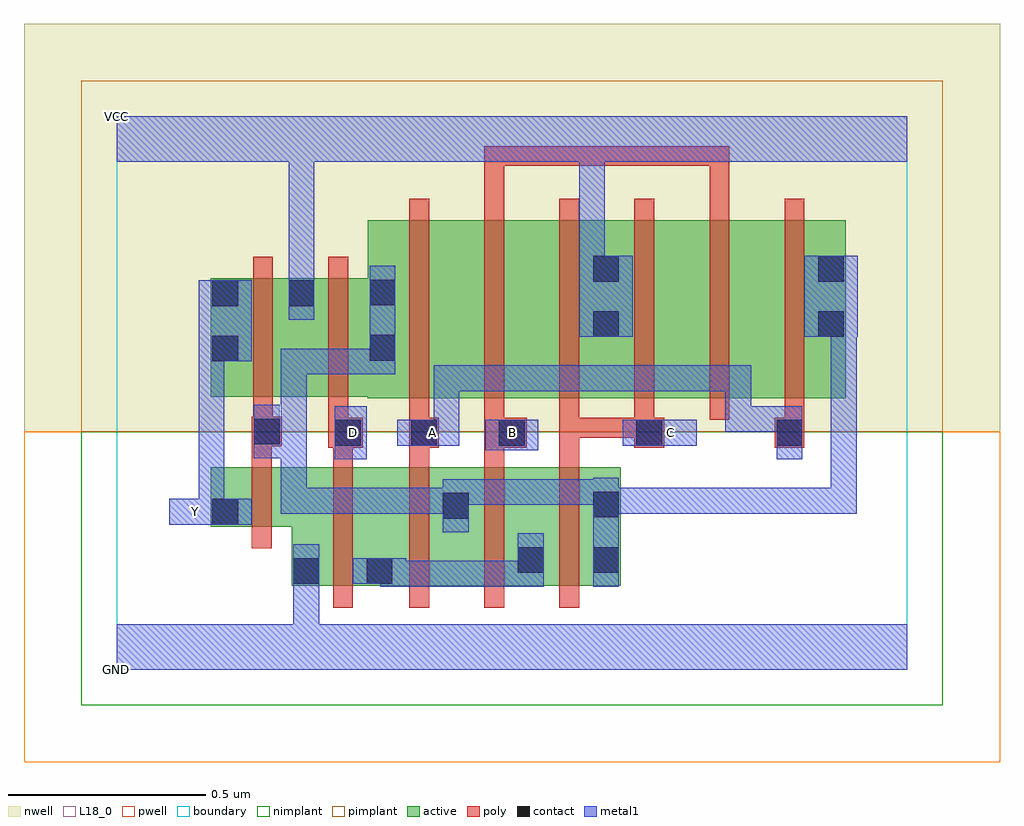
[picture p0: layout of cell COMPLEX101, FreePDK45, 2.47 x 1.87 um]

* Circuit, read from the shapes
.subckt COMPLEX101 A B C D GND VCC Y
M1 GND n1 Y VSUBS nfet w=0.15u l=0.05u
M2 n2 D GND VSUBS nfet w=0.3u l=0.05u
M3 n1 A n2 VSUBS nfet w=0.3u l=0.05u
M4 n2 B n1 VSUBS nfet w=0.3u l=0.05u
M5 n1 C n2 VSUBS nfet w=0.3u l=0.05u
M6 VCC n1 Y n3 pfet w=0.3u l=0.05u
M7 n1 D VCC n3 pfet w=0.3u l=0.05u
M8 n4 A n1 n3 pfet w=0.45u l=0.05u
M9 n5 B n4 n3 pfet w=0.45u l=0.05u
M10 VCC C n5 n3 pfet w=0.45u l=0.05u
M11 n6 C VCC n3 pfet w=0.45u l=0.05u
M12 n7 B n6 n3 pfet w=0.45u l=0.05u
M13 n1 A n7 n3 pfet w=0.45u l=0.05u
.ends

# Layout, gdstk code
import gdstk
lib = gdstk.Library(unit=1e-6, precision=1e-09)
def R(c, l, rs):  # rectangles x0, y0, x1, y1
    for r in rs: c.add(gdstk.rectangle(r[:2], r[2:], *l))
def A(c, l, x, y, w, h, nx, ny, dx, dy):  # array of equal rectangles
    R(c, l, [(x+i*dx, y+j*dy, x+i*dx+w, y+j*dy+h) for i in range(nx) for j in range(ny)])
active = (1, 0)
pwell = (2, 0)
nwell = (3, 0)
nimplant = (4, 0)
pimplant = (5, 0)
poly = (9, 0)
contact = (10, 0)
metal1 = (11, 0)
L18_0 = (18, 0)
boundary = (235, 0)

complex101 = lib.new_cell('COMPLEX101')
R(complex101, active, [(0.442,0.212,0.702,0.512), (0.442,0.212,0.517,0.362), (0.627,0.212,0.895,0.512), (0.627,0.212,0.702,0.392), (0.82,0.212,1.085,0.512), (1.01,0.212,1.275,0.512), (1.01,0.24,1.085,0.392), (1.2,0.24,1.275,0.512), (0.82,0.247,0.895,0.452), (0.237,0.362,0.312,0.512), (0.237,0.362,0.517,0.512), (0.635,0.687,0.86,1.137), (0.86,0.687,1.05,1.137), (1.05,0.687,1.275,1.137), (1.2,0.687,1.43,1.137), (1.43,0.687,1.62,1.137), (1.62,0.687,1.845,1.137), (1.77,0.687,1.845,1.137), (0.237,0.69,0.505,0.99), (0.237,0.69,0.312,0.99), (0.43,0.69,0.71,0.99), (0.635,0.69,0.71,0.992), (1.2,0.732,1.275,1.107), (0.43,0.822,0.505,0.99)])
R(complex101, pwell, [(-0.235,-0.235,2.235,0.602)])
R(complex101, nwell, [(-0.235,0.602,2.235,1.635)])
R(complex101, nimplant, [(-0.09,-0.09,2.09,0.602)])
R(complex101, pimplant, [(-0.09,0.602,2.09,1.49)])
A(complex101, poly, 0.74, 0.157, 0.05, 0.41, 3, 1, 0.19, 0)
A(complex101, poly, 0.74, 0.587, 0.05, 0.095, 4, 1, 0.19, 0)
A(complex101, poly, 0.74, 0.632, 0.05, 0.56, 6, 1, 0.19, 0)
R(complex101, poly, [(0.547,0.157,0.597,0.567), (0.342,0.307,0.392,0.567), (0.342,0.517,0.392,0.615), (0.547,0.517,0.597,0.612), (0.74,0.517,0.79,0.612), (0.93,0.517,0.98,0.612), (1.12,0.517,1.17,0.637), (0.535,0.562,0.622,0.637), (0.74,0.562,0.815,0.637), (0.93,0.562,1.037,0.637), (1.31,0.562,1.385,0.637), (1.665,0.562,1.74,0.637), (0.342,0.565,0.417,0.64), (0.535,0.587,0.585,0.685), (1.12,0.587,1.17,0.637), (1.12,0.587,1.17,0.637), (1.12,0.587,1.17,0.637), (1.12,0.587,1.36,0.637), (1.69,0.587,1.74,0.682), (0.345,0.59,0.395,0.685), (0.345,0.635,0.395,1.045), (0.535,0.635,0.585,1.045), (0.93,1.142,0.98,1.325), (1.5,1.142,1.55,1.325), (0.93,1.275,0.98,1.325), (0.93,1.275,0.98,1.325), (0.93,1.275,0.98,1.325), (0.93,1.275,1.17,1.325), (1.12,1.275,1.17,1.325), (1.12,1.275,1.17,1.325), (1.12,1.275,1.17,1.325), (1.12,1.275,1.417,1.325), (1.367,1.275,1.55,1.325), (1.367,1.275,1.417,1.325), (1.367,1.275,1.417,1.325), (1.367,1.275,1.417,1.325), (1.5,1.275,1.55,1.325)])
R(complex101, contact, [(0.447,0.217,0.512,0.282), (0.632,0.217,0.697,0.282), (1.015,0.245,1.08,0.31), (1.205,0.245,1.27,0.31), (0.242,0.367,0.307,0.432), (0.825,0.382,0.89,0.447), (1.205,0.385,1.27,0.45), (0.552,0.567,0.617,0.632), (0.745,0.567,0.81,0.632), (0.967,0.567,1.032,0.632), (1.315,0.567,1.38,0.632), (1.67,0.567,1.735,0.632), (0.347,0.57,0.412,0.635), (0.242,0.78,0.307,0.845), (0.64,0.782,0.705,0.847), (1.205,0.842,1.27,0.907), (1.775,0.842,1.84,0.907), (0.242,0.92,0.307,0.985), (0.435,0.92,0.5,0.985), (0.64,0.922,0.705,0.987), (1.205,0.982,1.27,1.047), (1.775,0.982,1.84,1.047)])
R(complex101, metal1, [(0,0,2,0.115), (0.447,0.05,0.512,0.115), (0.447,0.05,0.512,0.115), (0.447,0.05,0.512,0.247), (0.447,0.182,0.512,0.317), (0.667,0.21,0.87,0.275), (0.667,0.21,0.732,0.282), (0.805,0.21,0.87,0.275), (0.805,0.21,1.005,0.275), (0.94,0.21,1.005,0.275), (0.94,0.21,1.08,0.275), (1.015,0.21,1.08,0.345), (1.205,0.21,1.27,0.485), (0.597,0.217,0.732,0.282), (0.667,0.217,0.732,0.282), (0.825,0.347,0.89,0.482), (0.132,0.367,0.272,0.432), (0.207,0.367,0.272,0.432), (0.207,0.367,0.342,0.432), (0.207,0.367,0.272,0.845), (0.415,0.395,0.48,0.46), (0.415,0.395,0.592,0.46), (0.415,0.395,0.48,0.6), (0.527,0.395,0.592,0.46), (0.527,0.395,0.73,0.46), (0.665,0.395,0.73,0.46), (0.665,0.395,0.73,0.46), (0.665,0.395,0.73,0.46), (0.665,0.395,0.89,0.46), (1.205,0.395,1.407,0.46), (1.342,0.395,1.407,0.46), (1.342,0.395,1.407,0.46), (1.342,0.395,1.407,0.46), (1.342,0.395,1.545,0.46), (1.48,0.395,1.545,0.46), (1.48,0.395,1.545,0.46), (1.48,0.395,1.545,0.46), (1.48,0.395,1.872,0.46), (1.807,0.395,1.872,0.907), (1.807,0.395,1.872,0.46), (1.807,0.395,1.872,0.46), (1.807,0.395,1.872,0.46), (1.807,0.395,1.872,0.46), (1.807,0.395,1.872,0.46), (0.825,0.417,1.07,0.482), (1.005,0.417,1.07,0.482), (1.005,0.417,1.07,0.482), (1.005,0.417,1.07,0.482), (1.005,0.417,1.207,0.482), (1.142,0.417,1.207,0.482), (1.142,0.417,1.27,0.482), (0.552,0.532,0.632,0.667), (1.67,0.532,1.735,0.667), (0.347,0.535,0.412,0.67), (0.347,0.535,0.48,0.6), (0.415,0.535,0.48,0.6), (0.415,0.535,0.48,0.812), (0.932,0.555,1.067,0.632), (0.71,0.567,0.867,0.632), (0.802,0.567,0.867,0.632), (0.802,0.567,0.867,0.632), (0.802,0.567,0.867,0.77), (1.28,0.567,1.467,0.632), (1.54,0.602,1.605,0.667), (1.54,0.602,1.735,0.667), (1.54,0.602,1.605,0.77), (0.802,0.705,0.867,0.77), (0.802,0.705,1.027,0.77), (0.962,0.705,1.027,0.77), (0.962,0.705,1.027,0.77), (0.962,0.705,1.027,0.77), (0.962,0.705,1.207,0.77), (1.142,0.705,1.207,0.77), (1.142,0.705,1.207,0.77), (1.142,0.705,1.207,0.77), (1.142,0.705,1.407,0.77), (1.342,0.705,1.407,0.77), (1.342,0.705,1.407,0.77), (1.342,0.705,1.407,0.77), (1.342,0.705,1.597,0.77), (1.532,0.705,1.597,0.77), (1.532,0.705,1.605,0.77), (1.54,0.705,1.605,0.77), (0.415,0.747,0.48,0.812), (0.415,0.747,0.55,0.812), (0.485,0.747,0.55,0.812), (0.485,0.747,0.705,0.812), (0.64,0.747,0.705,1.022), (0.207,0.78,0.342,0.985), (1.17,0.842,1.305,1.047), (1.74,0.842,1.875,1.047), (0.435,0.885,0.5,1.02), (0.435,0.955,0.5,1.35), (1.17,0.982,1.235,1.35), (0,1.285,2,1.4), (0.435,1.285,0.5,1.35), (0.435,1.285,0.5,1.35), (0.435,1.285,0.5,1.35), (0.435,1.285,0.5,1.35), (1.17,1.285,1.235,1.35), (1.17,1.285,1.235,1.35)])
R(complex101, L18_0, [(0,0,2,0.115), (0.447,0.05,0.512,0.115), (0.447,0.05,0.512,0.115), (0.447,0.05,0.512,0.247), (0.447,0.182,0.512,0.317), (0.132,0.367,0.272,0.432), (0.167,0.367,0.232,0.432), (0.207,0.367,0.342,0.432), (0.207,0.367,0.272,0.432), (0.207,0.367,0.272,0.845), (0.552,0.532,0.632,0.667), (1.67,0.532,1.735,0.667), (0.932,0.555,1.067,0.632), (0.567,0.567,0.632,0.632), (0.71,0.567,0.867,0.632), (0.767,0.567,0.832,0.632), (0.802,0.567,0.867,0.632), (0.802,0.567,0.867,0.632), (0.802,0.567,0.867,0.77), (0.967,0.567,1.032,0.632), (1.28,0.567,1.467,0.632), (1.367,0.567,1.432,0.632), (1.54,0.602,1.605,0.667), (1.54,0.602,1.605,0.77), (1.54,0.602,1.735,0.667), (0.802,0.705,0.867,0.77), (0.802,0.705,1.027,0.77), (0.962,0.705,1.027,0.77), (0.962,0.705,1.027,0.77), (0.962,0.705,1.027,0.77), (0.962,0.705,1.207,0.77), (1.142,0.705,1.207,0.77), (1.142,0.705,1.207,0.77), (1.142,0.705,1.207,0.77), (1.142,0.705,1.407,0.77), (1.342,0.705,1.407,0.77), (1.342,0.705,1.407,0.77), (1.342,0.705,1.407,0.77), (1.342,0.705,1.597,0.77), (1.532,0.705,1.597,0.77), (1.532,0.705,1.605,0.77), (1.54,0.705,1.605,0.77), (0.207,0.78,0.342,0.985), (1.17,0.842,1.305,1.047), (0.435,0.885,0.5,1.02), (0.435,0.955,0.5,1.35), (1.17,0.982,1.235,1.35), (0,1.285,2,1.4), (0.435,1.285,0.5,1.35), (0.435,1.285,0.5,1.35), (0.435,1.285,0.5,1.35), (0.435,1.285,0.5,1.35), (1.17,1.285,1.235,1.35), (1.17,1.285,1.235,1.35)])
R(complex101, boundary, [(0,0,2,1.4)])
complex101.add(gdstk.Label('A', (0.8,0.6), layer=11, texttype=0))
complex101.add(gdstk.Label('B', (1,0.6), layer=11, texttype=0))
complex101.add(gdstk.Label('C', (1.4,0.6), layer=11, texttype=0))
complex101.add(gdstk.Label('D', (0.6,0.6), layer=11, texttype=0))
complex101.add(gdstk.Label('Y', (0.2,0.4), layer=11, texttype=0))
complex101.add(gdstk.Label('VCC', (0,1.4), layer=11, texttype=0))
complex101.add(gdstk.Label('GND', (0,0), layer=11, texttype=0))

lib.write_gds('COMPLEX101.gds')
